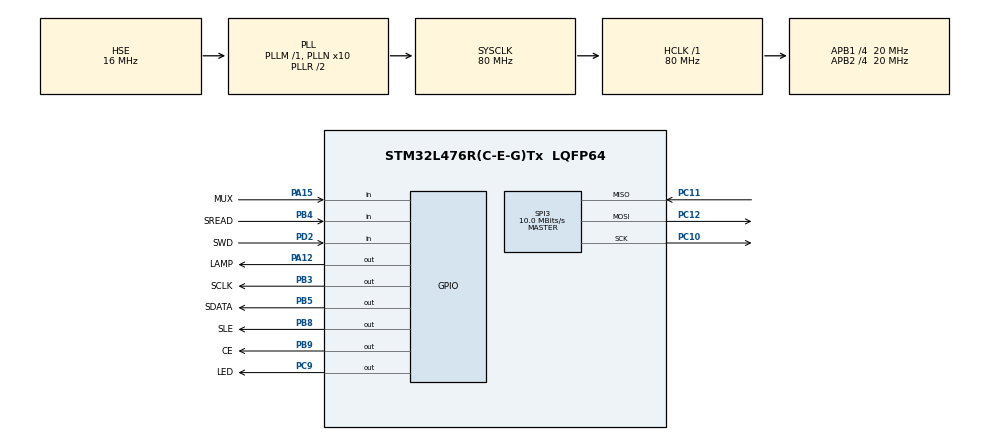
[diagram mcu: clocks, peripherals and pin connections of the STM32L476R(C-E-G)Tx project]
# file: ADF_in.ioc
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Mcu.Family=STM32L4
Mcu.Name=STM32L476R(C-E-G)Tx
Mcu.Package=LQFP64
NVIC.PriorityGroup=NVIC_PRIORITYGROUP_4
PA12.GPIO_Label=LAMP
PA12.Signal=GPIO_Output
PA13\ (JTMS-SWDIO).Mode=Serial_Wire
PA13\ (JTMS-SWDIO).Signal=SYS_JTMS-SWDIO
PA14\ (JTCK-SWCLK).Mode=Serial_Wire
PA14\ (JTCK-SWCLK).Signal=SYS_JTCK-SWCLK
PA15\ (JTDI).GPIO_Label=MUX
PA15\ (JTDI).Signal=GPIO_Input
PB3\ (JTDO-TRACESWO).GPIO_Label=SCLK
PB3\ (JTDO-TRACESWO).Signal=GPIO_Output
PB4\ (NJTRST).GPIO_Label=SREAD
PB4\ (NJTRST).Signal=GPIO_Input
PB5.GPIO_Label=SDATA
PB5.Signal=GPIO_Output
PB8.GPIO_Label=SLE
PB8.Signal=GPIO_Output
PB9.GPIO_Label=CE
PB9.Signal=GPIO_Output
PC10.Mode=Full_Duplex_Master
PC10.Signal=SPI3_SCK
PC11.Mode=Full_Duplex_Master
PC11.Signal=SPI3_MISO
PC12.Mode=Full_Duplex_Master
PC12.Signal=SPI3_MOSI
PC9.GPIO_Label=LED
PC9.Signal=GPIO_Output
PD2.GPIO_Label=SWD
PD2.Signal=GPIO_Input
PH0-OSC_IN\ (PH0).Mode=HSE-External-Oscillator
PH0-OSC_IN\ (PH0).Signal=RCC_OSC_IN
PH1-OSC_OUT\ (PH1).Mode=HSE-External-Oscillator
PH1-OSC_OUT\ (PH1).Signal=RCC_OSC_OUT
ProjectManager.HeapSize=0x200
ProjectManager.StackSize=0x400
ProjectManager.TargetToolchain=STM32CubeIDE
RCC.ADCFreq_Value=64000000
RCC.AHBFreq_Value=80000000
RCC.APB1CLKDivider=RCC_HCLK_DIV4
RCC.APB1Freq_Value=20000000
RCC.APB1TimFreq_Value=40000000
RCC.APB2CLKDivider=RCC_HCLK_DIV4
RCC.APB2Freq_Value=20000000
RCC.APB2TimFreq_Value=40000000
RCC.CortexFreq_Value=80000000
RCC.HCLKFreq_Value=80000000
RCC.HSE_VALUE=16000000
RCC.HSI_VALUE=16000000
RCC.LSE_VALUE=32768
RCC.MSI_VALUE=4000000
RCC.PLLN=10
RCC.PLLSourceVirtual=RCC_PLLSOURCE_HSE
RCC.SYSCLKFreq_VALUE=80000000
RCC.SYSCLKSource=RCC_SYSCLKSOURCE_PLLCLK
RCC.USBFreq_Value=64000000
RCC.VCOOutputFreq_Value=160000000
SPI3.BaudRatePrescaler=SPI_BAUDRATEPRESCALER_2
SPI3.CalculateBaudRate=10.0 MBits/s
SPI3.DataSize=SPI_DATASIZE_16BIT
SPI3.Direction=SPI_DIRECTION_2LINES
SPI3.Mode=SPI_MODE_MASTER
SPI3.VirtualType=VM_MASTER
board=custom

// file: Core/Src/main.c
/* USER CODE BEGIN Header */
/**
  ******************************************************************************
  * @file           : main.c
  * @brief          : Main program body
  ******************************************************************************
  * @attention
  *
  * Copyright (c) 2024 STMicroelectronics.
  * All rights reserved.
  *
  * This software is licensed under terms that can be found in the LICENSE file
  * in the root directory of this software component.
  * If no LICENSE file comes with this software, it is provided AS-IS.
  *
  ******************************************************************************
  */
/* USER CODE END Header */
#include "main.h"

/* USER CODE BEGIN Includes */

//#include <ADF7021_Module.h>
//#include "ADF7021_Module.c"

/* USER CODE END Includes */

/* USER CODE BEGIN PD */

#define BUFFER_SIZE   40

/* USER CODE END PD */

SPI_HandleTypeDef hspi3;

/* USER CODE BEGIN PV */

uint8_t data_in[BUFFER_SIZE];
uint8_t data_out[BUFFER_SIZE];

/* USER CODE END PV */

void SystemClock_Config(void);
static void MX_GPIO_Init(void);
static void MX_SPI3_Init(void);

/* USER CODE BEGIN 0 */

//---------adf7021.c---------
		void ADF_WriteReg(uint32_t val)
		{
			HAL_GPIO_WritePin(SLE_GPIO_Port, SLE_Pin, 0);
			HAL_Delay(0);

			HAL_GPIO_WritePin(SCLK_GPIO_Port, SCLK_Pin, 0);
			HAL_Delay(0);

			for(uint8_t i=0; i<32; i++)
			{
				HAL_GPIO_WritePin(SDATA_GPIO_Port, SDATA_Pin, (val>>(31-i))&1);
				for(uint16_t i=0; i<100; i++)
					asm("NOP");
				HAL_GPIO_WritePin(SCLK_GPIO_Port, SCLK_Pin, 1);
				for(uint16_t i=0; i<100; i++)
					asm("NOP");
				HAL_GPIO_WritePin(SCLK_GPIO_Port, SCLK_Pin, 0);
				for(uint16_t i=0; i<100; i++)
					asm("NOP");
			}

			HAL_GPIO_WritePin(SLE_GPIO_Port, SLE_Pin, 1);
			//HAL_GPIO_WritePin(TEST2_GPIO_Port, TEST2_Pin, 1);
			for(uint16_t i=0; i<100; i++)
				asm("NOP");
			HAL_GPIO_WritePin(SLE_GPIO_Port, SLE_Pin, 0);
			//HAL_GPIO_WritePin(TEST2_GPIO_Port, TEST2_Pin, 0);
			for(uint16_t i=0; i<100; i++)
				asm("NOP");
		}
//		ADF_SetFreq(439075000, 0);

		void ADF_SetFreq(uint32_t freq, uint8_t rx)
		{
			uint8_t i=0;
			uint16_t f=0;

			if(rx)
				freq-=100000;	//IF correction

			i=freq/(12288000/(3*2));
			f=10*(freq-i*(12288000/(3*2)))/625;

			ADF_WriteReg((i<<19)|(f<<4)|(rx<<27));
		}

		float ADF_GetRSSI(void)
		{
			uint32_t val=0x147;
			uint16_t rv=0;

			HAL_GPIO_WritePin(SLE_GPIO_Port, SLE_Pin, 0);
			HAL_Delay(0);

			HAL_GPIO_WritePin(SCLK_GPIO_Port, SCLK_Pin, 0);
			HAL_Delay(0);

			for(uint8_t i=0; i<9; i++)
			{
				HAL_GPIO_WritePin(SDATA_GPIO_Port, SDATA_Pin, (val>>(8-i))&1);
				for(uint16_t i=0; i<100; i++)
					asm("NOP");
				HAL_GPIO_WritePin(SCLK_GPIO_Port, SCLK_Pin, 1);
				for(uint16_t i=0; i<100; i++)
					asm("NOP");
				HAL_GPIO_WritePin(SCLK_GPIO_Port, SCLK_Pin, 0);
				for(uint16_t i=0; i<100; i++)
					asm("NOP");
			}

			HAL_GPIO_WritePin(SLE_GPIO_Port, SLE_Pin, 1);
			for(uint16_t i=0; i<100; i++)
				asm("NOP");

			//readback
			for(uint8_t i=0; i<16+1; i++)
			{
				HAL_GPIO_WritePin(SCLK_GPIO_Port, SCLK_Pin, 1);
				for(uint16_t i=0; i<100; i++)
					asm("NOP");
				HAL_GPIO_WritePin(SCLK_GPIO_Port, SCLK_Pin, 0);
				for(uint16_t i=0; i<100; i++)
					asm("NOP");

				if(i)
				{
					rv|=((((SREAD_GPIO_Port->IDR)>>7)&1)<<(16-i));
				}

				for(uint16_t i=0; i<100; i++)
					asm("NOP");
			}

			HAL_GPIO_WritePin(SCLK_GPIO_Port, SCLK_Pin, 1);
			for(uint16_t i=0; i<100; i++)
				asm("NOP");
			HAL_GPIO_WritePin(SLE_GPIO_Port, SLE_Pin, 0);
			for(uint16_t i=0; i<100; i++)
				asm("NOP");
			HAL_GPIO_WritePin(SCLK_GPIO_Port, SCLK_Pin, 0);

			uint8_t lna_gain=(rv>>9)&3;
			uint8_t filter_gain=(rv>>7)&3;
			uint8_t rdb=rv&0x7F;
			float gain_corr=0.0;

			if(lna_gain==2 && filter_gain==2)
				gain_corr=0.0;
			else if(lna_gain==1)
			{
				if(filter_gain==2)
					gain_corr=24.0;
				else if(filter_gain==1)
					gain_corr=38.0;
				else
					gain_corr=58.0;
			}
			else if(lna_gain==0 && filter_gain==0)
				gain_corr=86.0;

			return -130.0+((float)rdb+gain_corr)/2.0;
		}

		uint16_t ADF_GetChipVersion(void)
		{
			uint32_t val=0x1C7;
			uint16_t rv=0;

			HAL_GPIO_WritePin(SLE_GPIO_Port, SLE_Pin, 0);
			HAL_Delay(0);

			HAL_GPIO_WritePin(SCLK_GPIO_Port, SCLK_Pin, 0);
			HAL_Delay(0);

			for(uint8_t i=0; i<9; i++)
			{
				HAL_GPIO_WritePin(SDATA_GPIO_Port, SDATA_Pin, (val>>(8-i))&1);
				for(uint16_t i=0; i<100; i++)
					asm("NOP");
				HAL_GPIO_WritePin(SCLK_GPIO_Port, SCLK_Pin, 1);
				for(uint16_t i=0; i<100; i++)
					asm("NOP");
				HAL_GPIO_WritePin(SCLK_GPIO_Port, SCLK_Pin, 0);
				for(uint16_t i=0; i<100; i++)
					asm("NOP");
			}

			HAL_GPIO_WritePin(SLE_GPIO_Port, SLE_Pin, 1);
			for(uint16_t i=0; i<100; i++)
				asm("NOP");

			//readback
			for(uint8_t i=0; i<16+1; i++)
			{
				HAL_GPIO_WritePin(SCLK_GPIO_Port, SCLK_Pin, 1);
				for(uint16_t i=0; i<100; i++)
					asm("NOP");
				HAL_GPIO_WritePin(SCLK_GPIO_Port, SCLK_Pin, 0);
				for(uint16_t i=0; i<100; i++)
					asm("NOP");

				if(i)
				{
					rv|=((((SREAD_GPIO_Port->IDR)>>7)&1)<<(16-i));
				}

				for(uint16_t i=0; i<100; i++)
					asm("NOP");
			}

			HAL_GPIO_WritePin(SCLK_GPIO_Port, SCLK_Pin, 1);
			for(uint16_t i=0; i<100; i++)
				asm("NOP");
			HAL_GPIO_WritePin(SLE_GPIO_Port, SLE_Pin, 0);
			for(uint16_t i=0; i<100; i++)
				asm("NOP");
			HAL_GPIO_WritePin(SCLK_GPIO_Port, SCLK_Pin, 0);

			return rv;
		}

/* USER CODE END 0 */

int main(void)
{

  /* MCU Configuration--------------------------------------------------------*/

  /* Reset of all peripherals, Initializes the Flash interface and the Systick. */
  HAL_Init();

  /* Configure the system clock */
  SystemClock_Config();

  /* Initialize all configured peripherals */
  MX_GPIO_Init();
  MX_SPI3_Init();
  /* USER CODE BEGIN 2 */

	for(uint16_t i = 0; i < BUFFER_SIZE; i++)
	{
		data_in[i]=i;
	}

			//example ADF7021 init

	HAL_Delay(3000);
	HAL_GPIO_WritePin(CE_GPIO_Port, CE_Pin, 0);
	HAL_Delay(100);
	HAL_GPIO_WritePin(CE_GPIO_Port, CE_Pin, 1);
	HAL_Delay(100);
	HAL_GPIO_WritePin(SLE_GPIO_Port, SLE_Pin, 0);
	HAL_Delay(100);

			//---------registers adf eval soft-------
	//0
	ADF_WriteReg((uint32_t)0x115AA660); //0x115AA660
	HAL_Delay(2-1);

	//1
	ADF_WriteReg((uint32_t)0x21F5021); //0x21F5021
	HAL_Delay(2-1);

	//2
	ADF_WriteReg((uint32_t)0x107F082); //0x107F082
	HAL_Delay(2-1);

	//3
	ADF_WriteReg((uint32_t)0x2A807D13); //0x2A807D13
	HAL_Delay(2-1);

	//4
	ADF_WriteReg((uint32_t)0x8057F894); //0x8057F894
	HAL_Delay(2-1);

	//5
	ADF_WriteReg((uint32_t)0x02815); //0x02815
	HAL_Delay(2-1);

	//6
	ADF_WriteReg((uint32_t)0x507AF46); //0x507AF46
	HAL_Delay(2-1);

	//7
	ADF_WriteReg((uint32_t)0x007); //0x007
	HAL_Delay(2-1);

	//8
	ADF_WriteReg((uint32_t)0x0008); //0x0008
	HAL_Delay(2-1);

	//9
	ADF_WriteReg((uint32_t)0x231E9); //0x231E9
	HAL_Delay(2-1);

	//10
	ADF_WriteReg((uint32_t)0x3296418A); //0x3296418A
	HAL_Delay(2-1);

	//11
	ADF_WriteReg((uint32_t)0x0003B); //0x0003B
	HAL_Delay(2-1);

	//12
	ADF_WriteReg((uint32_t)0x0010C); //0x0010C
	HAL_Delay(2-1);

	//13
	ADF_WriteReg((uint32_t)0x0000D); //0x0000D
	HAL_Delay(2-1);

	//14
	ADF_WriteReg((uint32_t)0x0000000E); //0x0000000E
	HAL_Delay(2-1);

	//15
	ADF_WriteReg((uint32_t)0x0000000F); //0x0000000F
	HAL_Delay(2-1);

/*

 * ---------lib-code-------
	ADF_WriteReg((uint32_t)0x0003B|((uint32_t)0x3243<<8));	//SWD (0x3B) syncword: 0x3243  00111011
	HAL_Delay(2-1);
	ADF_WriteReg((uint32_t)0x0010C|(uint32_t)1<<8);			//DPL (0x10C)
	HAL_Delay(2-1);
	ADF_WriteReg((uint32_t)0x5770B4); //0x5770B4
	HAL_Delay(2-1);
	ADF_WriteReg((uint32_t)0x01ED5);	//coarse cal ON
	HAL_Delay(2-1);
	ADF_WriteReg((uint32_t)0x505EBA6|(uint32_t)1<<4);			//0x505EBA6
	HAL_Delay(10-1);
	//((uint32_t)0x007);
	//HAL_Delay(2-1);
	//ADF_WriteReg((uint32_t)0x0008);
	//HAL_Delay(2-1);
	ADF_WriteReg((uint32_t)0x9|(uint32_t)40<<4|(uint32_t)70<<11);//|((uint32_t)1<<18)|((uint32_t)2<<20)|((uint32_t)2<<22)); //manual gain - max
	HAL_Delay(2-1);
	ADF_WriteReg((uint32_t)0x3296556B);
	HAL_Delay(2-1);
	ADF_WriteReg((uint32_t)0x003BD);

	ADF_WriteReg((uint32_t)0x475031);    //  010001110101000000110001
	HAL_Delay(2-1);

	ADF_WriteReg((uint32_t)0x29ECA093);	//CDR=40
	//ADF_WriteReg((uint32_t)(0x29ECA093&(~(0xFF<<10)))|1<<10);	//CDR=1 for DAC test
	HAL_Delay(2-1);

	//ADF_SetFreq(439425000, 1);	//SR5ND
	//ADF_SetFreq(439350000, 1);	//SR5WA
	//ADF_SetFreq(438625000, 1);	//SR5WP
	//ADF_SetFreq(439000000, 1);	//SR5WZ
	//ADF_SetFreq(439075000, 0);	//SR5MS

	//ADF_WriteReg(((uint32_t)212<<19)|((uint32_t)13184<<4));
	//ADF_WriteReg(((uint32_t)177<<19)|((uint32_t)64<<4));
	HAL_Delay(2-1);

	uint8_t pwr=63;	//1=-16dBm, 63=+13dBm
	ADF_WriteReg((uint32_t)0x00D018B2|(0<<30)|(pwr<<13));	//4FSK raw
	//ADF_WriteReg((uint32_t)0x00D018F2|(0<<30)|(pwr<<13));	//4FSK + RC filter
	HAL_Delay(2-1);

	ADF_WriteReg((uint32_t)0x0000000F|(1<<8));	//1:TX carrier, 2:+f_i, 3:-f_i
	//ADF_WriteReg((uint32_t)(14|(1<<4)|(0<<21)));	//test DAC EN, no DAC gain
*/

  /* USER CODE END 2 */

  /* Infinite loop */
  while (1)
  {

    /* USER CODE BEGIN 3 */

		HAL_GPIO_WritePin(LED_GPIO_Port, LED_Pin, GPIO_PIN_SET);
		HAL_Delay(100);
		HAL_GPIO_WritePin(LED_GPIO_Port, LED_Pin, GPIO_PIN_RESET);
		HAL_Delay(100);

		//HAL_SPI_Transmit(&hspi3, data_in, BUFFER_SIZE, 100);

  }
  /* USER CODE END 3 */
}

void SystemClock_Config(void)
{
  RCC_OscInitTypeDef RCC_OscInitStruct = {0};
  RCC_ClkInitTypeDef RCC_ClkInitStruct = {0};

  /** Configure the main internal regulator output voltage
  */
  if (HAL_PWREx_ControlVoltageScaling(PWR_REGULATOR_VOLTAGE_SCALE1) != HAL_OK)
  {
    Error_Handler();
  }

  /** Initializes the RCC Oscillators according to the specified parameters
  * in the RCC_OscInitTypeDef structure.
  */
  RCC_OscInitStruct.OscillatorType = RCC_OSCILLATORTYPE_HSE;
  RCC_OscInitStruct.HSEState = RCC_HSE_ON;
  RCC_OscInitStruct.PLL.PLLState = RCC_PLL_ON;
  RCC_OscInitStruct.PLL.PLLSource = RCC_PLLSOURCE_HSE;
  RCC_OscInitStruct.PLL.PLLM = 1;
  RCC_OscInitStruct.PLL.PLLN = 10;
  RCC_OscInitStruct.PLL.PLLP = RCC_PLLP_DIV7;
  RCC_OscInitStruct.PLL.PLLQ = RCC_PLLQ_DIV2;
  RCC_OscInitStruct.PLL.PLLR = RCC_PLLR_DIV2;
  if (HAL_RCC_OscConfig(&RCC_OscInitStruct) != HAL_OK)
  {
    Error_Handler();
  }

  /** Initializes the CPU, AHB and APB buses clocks
  */
  RCC_ClkInitStruct.ClockType = RCC_CLOCKTYPE_HCLK|RCC_CLOCKTYPE_SYSCLK
                              |RCC_CLOCKTYPE_PCLK1|RCC_CLOCKTYPE_PCLK2;
  RCC_ClkInitStruct.SYSCLKSource = RCC_SYSCLKSOURCE_PLLCLK;
  RCC_ClkInitStruct.AHBCLKDivider = RCC_SYSCLK_DIV1;
  RCC_ClkInitStruct.APB1CLKDivider = RCC_HCLK_DIV4;
  RCC_ClkInitStruct.APB2CLKDivider = RCC_HCLK_DIV4;

  if (HAL_RCC_ClockConfig(&RCC_ClkInitStruct, FLASH_LATENCY_4) != HAL_OK)
  {
    Error_Handler();
  }
}

static void MX_SPI3_Init(void)
{

  /* SPI3 parameter configuration*/
  hspi3.Instance = SPI3;
  hspi3.Init.Mode = SPI_MODE_MASTER;
  hspi3.Init.Direction = SPI_DIRECTION_2LINES;
  hspi3.Init.DataSize = SPI_DATASIZE_16BIT;
  hspi3.Init.CLKPolarity = SPI_POLARITY_LOW;
  hspi3.Init.CLKPhase = SPI_PHASE_1EDGE;
  hspi3.Init.NSS = SPI_NSS_SOFT;
  hspi3.Init.BaudRatePrescaler = SPI_BAUDRATEPRESCALER_2;
  hspi3.Init.FirstBit = SPI_FIRSTBIT_MSB;
  hspi3.Init.TIMode = SPI_TIMODE_DISABLE;
  hspi3.Init.CRCCalculation = SPI_CRCCALCULATION_DISABLE;
  hspi3.Init.CRCPolynomial = 7;
  hspi3.Init.CRCLength = SPI_CRC_LENGTH_DATASIZE;
  hspi3.Init.NSSPMode = SPI_NSS_PULSE_ENABLE;
  if (HAL_SPI_Init(&hspi3) != HAL_OK)
  {
    Error_Handler();
  }

}

static void MX_GPIO_Init(void)
{
  GPIO_InitTypeDef GPIO_InitStruct = {0};

  /* GPIO Ports Clock Enable */
  __HAL_RCC_GPIOH_CLK_ENABLE();
  __HAL_RCC_GPIOC_CLK_ENABLE();
  __HAL_RCC_GPIOA_CLK_ENABLE();
  __HAL_RCC_GPIOD_CLK_ENABLE();
  __HAL_RCC_GPIOB_CLK_ENABLE();

  /*Configure GPIO pin Output Level */
  HAL_GPIO_WritePin(LED_GPIO_Port, LED_Pin, GPIO_PIN_RESET);

  /*Configure GPIO pin Output Level */
  HAL_GPIO_WritePin(LAMP_GPIO_Port, LAMP_Pin, GPIO_PIN_RESET);

  /*Configure GPIO pin Output Level */
  HAL_GPIO_WritePin(GPIOB, SCLK_Pin|SDATA_Pin|SLE_Pin|CE_Pin, GPIO_PIN_RESET);

  /*Configure GPIO pin : LED_Pin */
  GPIO_InitStruct.Pin = LED_Pin;
  GPIO_InitStruct.Mode = GPIO_MODE_OUTPUT_PP;
  GPIO_InitStruct.Pull = GPIO_NOPULL;
  GPIO_InitStruct.Speed = GPIO_SPEED_FREQ_LOW;
  HAL_GPIO_Init(LED_GPIO_Port, &GPIO_InitStruct);

  /*Configure GPIO pin : LAMP_Pin */
  GPIO_InitStruct.Pin = LAMP_Pin;
  GPIO_InitStruct.Mode = GPIO_MODE_OUTPUT_PP;
  GPIO_InitStruct.Pull = GPIO_NOPULL;
  GPIO_InitStruct.Speed = GPIO_SPEED_FREQ_LOW;
  HAL_GPIO_Init(LAMP_GPIO_Port, &GPIO_InitStruct);

  /*Configure GPIO pin : MUX_Pin */
  GPIO_InitStruct.Pin = MUX_Pin;
  GPIO_InitStruct.Mode = GPIO_MODE_INPUT;
  GPIO_InitStruct.Pull = GPIO_NOPULL;
  HAL_GPIO_Init(MUX_GPIO_Port, &GPIO_InitStruct);

  /*Configure GPIO pin : SWD_Pin */
  GPIO_InitStruct.Pin = SWD_Pin;
  GPIO_InitStruct.Mode = GPIO_MODE_INPUT;
  GPIO_InitStruct.Pull = GPIO_NOPULL;
  HAL_GPIO_Init(SWD_GPIO_Port, &GPIO_InitStruct);

  /*Configure GPIO pins : SCLK_Pin SDATA_Pin SLE_Pin CE_Pin */
  GPIO_InitStruct.Pin = SCLK_Pin|SDATA_Pin|SLE_Pin|CE_Pin;
  GPIO_InitStruct.Mode = GPIO_MODE_OUTPUT_PP;
  GPIO_InitStruct.Pull = GPIO_NOPULL;
  GPIO_InitStruct.Speed = GPIO_SPEED_FREQ_LOW;
  HAL_GPIO_Init(GPIOB, &GPIO_InitStruct);

  /*Configure GPIO pin : SREAD_Pin */
  GPIO_InitStruct.Pin = SREAD_Pin;
  GPIO_InitStruct.Mode = GPIO_MODE_INPUT;
  GPIO_InitStruct.Pull = GPIO_NOPULL;
  HAL_GPIO_Init(SREAD_GPIO_Port, &GPIO_InitStruct);

}

void Error_Handler(void)
{
  __disable_irq();
  while (1)
  {
  }
}
